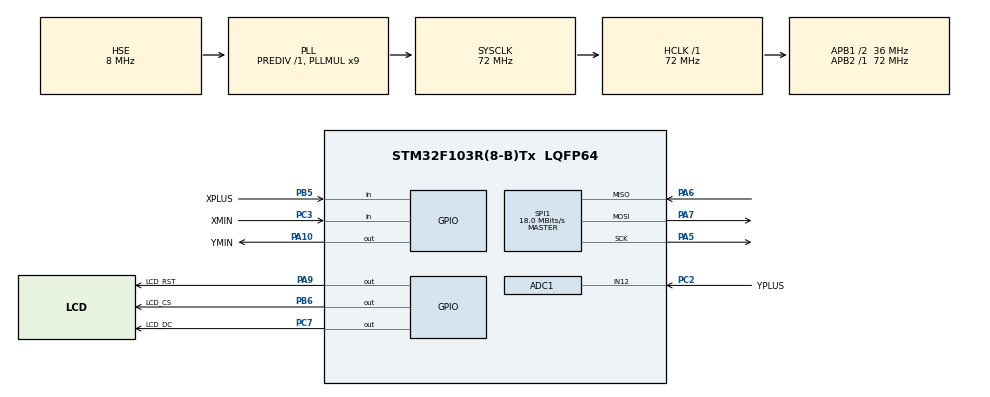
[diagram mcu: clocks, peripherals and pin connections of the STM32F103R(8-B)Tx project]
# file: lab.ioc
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ADC1.Channel-28\#ChannelRegularConversion=ADC_CHANNEL_12
ADC1.NbrOfConversionFlag=1
ADC1.Rank-28\#ChannelRegularConversion=1
ADC1.SamplingTime-28\#ChannelRegularConversion=ADC_SAMPLETIME_1CYCLE_5
ADC1.master=1
Mcu.Family=STM32F1
Mcu.Name=STM32F103R(8-B)Tx
Mcu.Package=LQFP64
NVIC.PriorityGroup=NVIC_PRIORITYGROUP_4
PA10.GPIO_Label=YMIN
PA10.GPIO_PuPd=GPIO_PULLDOWN
PA10.GPIO_Speed=GPIO_SPEED_FREQ_HIGH
PA10.Signal=GPIO_Output
PA13.Mode=Serial_Wire
PA13.Signal=SYS_JTMS-SWDIO
PA14.Mode=Serial_Wire
PA14.Signal=SYS_JTCK-SWCLK
PA5.Mode=Full_Duplex_Master
PA5.Signal=SPI1_SCK
PA6.Mode=Full_Duplex_Master
PA6.Signal=SPI1_MISO
PA7.Mode=Full_Duplex_Master
PA7.Signal=SPI1_MOSI
PA9.GPIO_Label=LCD_RST
PA9.Signal=GPIO_Output
PB5.GPIO_Label=XPLUS
PB5.GPIO_PuPd=GPIO_PULLDOWN
PB5.Signal=GPIO_Input
PB6.GPIO_Label=LCD_CS
PB6.Signal=GPIO_Output
PC2.GPIO_Label=YPLUS
PC2.Signal=ADCx_IN12
PC3.GPIO_Label=XMIN
PC3.Signal=GPIO_Input
PC7.GPIO_Label=LCD_DC
PC7.Signal=GPIO_Output
PD0-OSC_IN.Mode=HSE-External-Oscillator
PD0-OSC_IN.Signal=RCC_OSC_IN
PD1-OSC_OUT.Mode=HSE-External-Oscillator
PD1-OSC_OUT.Signal=RCC_OSC_OUT
ProjectManager.HeapSize=0x200
ProjectManager.StackSize=0x400
ProjectManager.TargetToolchain=STM32CubeIDE
RCC.ADCPresc=RCC_ADCPCLK2_DIV6
RCC.AHBFreq_Value=72000000
RCC.APB1CLKDivider=RCC_HCLK_DIV2
RCC.APB1Freq_Value=36000000
RCC.APB1TimFreq_Value=72000000
RCC.APB2Freq_Value=72000000
RCC.APB2TimFreq_Value=72000000
RCC.HCLKFreq_Value=72000000
RCC.PLLMUL=RCC_PLL_MUL9
RCC.PLLSourceVirtual=RCC_PLLSOURCE_HSE
RCC.SYSCLKFreq_VALUE=72000000
RCC.SYSCLKSource=RCC_SYSCLKSOURCE_PLLCLK
RCC.USBFreq_Value=72000000
SH.ADCx_IN12.0=ADC1_IN12,IN12
SPI1.BaudRatePrescaler=SPI_BAUDRATEPRESCALER_4
SPI1.CalculateBaudRate=18.0 MBits/s
SPI1.Direction=SPI_DIRECTION_2LINES
SPI1.Mode=SPI_MODE_MASTER
SPI1.VirtualType=VM_MASTER
board=custom

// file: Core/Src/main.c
/* USER CODE BEGIN Header */
/**
 ******************************************************************************
 * @file           : main.c
 * @brief          : Main program body
 ******************************************************************************
 * @attention
 *
 * <h2><center>&copy; Copyright (c) 2020 STMicroelectronics.
 * All rights reserved.</center></h2>
 *
 * This software component is licensed by ST under BSD 3-Clause license,
 * the "License"; You may not use this file except in compliance with the
 * License. You may obtain a copy of the License at:
 *                        opensource.org/licenses/BSD-3-Clause
 *
 ******************************************************************************
 */
/* USER CODE END Header */

#include "main.h"

/* USER CODE BEGIN Includes */
#include "Touch.h"
#include "LCD_Driver.h"
#include <string.h>
#include <stdarg.h>
#include <stdio.h>
#include<math.h>
#include "icons.h"
/* USER CODE END Includes */

ADC_HandleTypeDef hadc1;

SPI_HandleTypeDef hspi1;

void SystemClock_Config(void);
static void MX_GPIO_Init(void);
static void MX_ADC1_Init(void);
static void MX_SPI1_Init(void);

/* USER CODE BEGIN 0 */
int _write(int file, char *ptr, int len) {
	int i = 0;
	for (i = 0; i < len; i++)
		ITM_SendChar((*ptr++));
	return len;
}

struct Button {
	int start_x, start_y, end_x, end_y;
	uint8_t action;
	const uint16_t * icon;
};

void drawStruct(struct Button * p) {
	uint16_t color;
	switch(p->action) {
	case 1: color = HX8357_BLUE; p->icon = pencil_icon; break;
	case 2: color= HX8357_RED;  p->icon = line_icon; break;
	case 3: color= HX8357_CYAN;  p->icon = circle_icon; break;
	case 4: color= HX8357_GREEN;  p->icon = graph_icon; break;
	default: color = HX8357_YELLOW;  p->icon = trash_icon; break;
	}

	int center_x = abs(p->end_x - p->start_x) + p->start_x;
	int center_y = abs(p->end_y - p->start_y) + p->start_y;
	// 32 bit
	center_x -= 4;
	center_y -= 4;
	LCD_Fill_Rect(p->start_x, p->start_y, p->end_x, p->end_y, color);
	LCD_printIcon(center_x, center_y, p->icon);

}

uint8_t checkIfInBoundary(struct Button * p, int x_coor) {
	if(x_coor >= p->start_x && x_coor <= p->end_x) {
		return 1;
	}

	return 0;
}

struct Button clear_button = {20, 0, 60, 40, 5 };
struct Button polygon_button  = {80, 0, 120, 40, 4 };
struct Button circle_button  = {140, 0, 180, 40, 3 };
struct Button line_button  = {200, 0, 240, 40, 2 };
struct Button pencil_button = {260, 0, 300, 40, 1 };

void default_screen() {
	LCD_Fill(HX8357_WHITE);
	drawStruct(&pencil_button);
	drawStruct(&line_button);
	drawStruct(&circle_button);
	drawStruct(&polygon_button);
	drawStruct(&clear_button);
}

/* USER CODE END 0 */

int main(void)
{

	/* MCU Configuration--------------------------------------------------------*/

	/* Reset of all peripherals, Initializes the Flash interface and the Systick. */
	HAL_Init();

	/* Configure the system clock */
	SystemClock_Config();

	/* Initialize all configured peripherals */
	MX_GPIO_Init();
	MX_ADC1_Init();
	MX_SPI1_Init();
	/* USER CODE BEGIN 2 */
	Touch_Init(&hadc1);
	LCD_Init(&hspi1, LCD_CS_GPIO_Port, LCD_CS_Pin, LCD_DC_GPIO_Port, LCD_DC_Pin, LCD_RST_GPIO_Port, LCD_RST_Pin);
	LCD_setRotation(3);
	default_screen();
	int current_x, current_y, radius, x_diff, y_diff;
	int previous_x, previous_y = 0;
	uint8_t enabled_action = 0;
	uint8_t in_button;
	int text_coords[2] = {0, 460};
	int triangle_coords[3][2] = {{0, 0}, {0, 0}, {0, 0}};
	uint8_t completeTriangle = 0;
	int triangle_coord_count = 0;
	/* USER CODE END 2 */

	/* Infinite loop */
	while (1) {

		/* USER CODE BEGIN 3 */
		current_x = readTouchX();
		current_y = readTouchY();
		printf("TAPPED: (%d, %d)\n", current_x, current_y);
		if(current_x > 0 && current_y > 0) {
			// 1. Check if in boundary of button
			// 2. Also determine action
			if(current_y >= 0 && current_y <= 40) {
				in_button = 0;
				if(checkIfInBoundary(&pencil_button, current_x)) {
					in_button = 1;
					enabled_action = pencil_button.action;
					LCD_printText("PIXEL  ", text_coords[0], text_coords[1], HX8357_BLACK, HX8357_WHITE, 1);
					printf("User tapped line button\n");
				}
				if(checkIfInBoundary(&line_button, current_x)) {
					in_button = 1;
					enabled_action = line_button.action;
					LCD_printText("LINE   ", text_coords[0], text_coords[1], HX8357_BLACK, HX8357_WHITE, 1);
					printf("User tapped line button\n");
				}

				if(checkIfInBoundary(&circle_button, current_x)) {
					in_button = 1;
					enabled_action = circle_button.action;
					LCD_printText("CIRCLE  ", text_coords[0], text_coords[1], HX8357_BLACK, HX8357_WHITE, 1);
					printf("User tapped circle button\n");
				}

				if(checkIfInBoundary(&polygon_button, current_x)) {
					in_button = 1;
					enabled_action = polygon_button.action;
					LCD_printText("POLYGON", text_coords[0], text_coords[1], HX8357_BLACK, HX8357_WHITE, 1);
					printf("User tapped polygon button\n");
				}
				if(checkIfInBoundary(&clear_button, current_x)) {
					in_button = 1;
					enabled_action = clear_button.action;
					default_screen();
					printf("User tapped clear button\n");
				}

			} else {
				in_button = 0;
			}

			if(in_button) {
				previous_x = 0;
				previous_y = 0;
			} else {
				if(previous_x > 0 && previous_y > 0) {
					switch(enabled_action) {
					// 1 = line, 2 = circle, 3 = polygon
					case 1: LCD_DrawPixel(current_x, current_y, HX8357_BLACK); break;
					case 2:
						LCD_drawLine(previous_x, previous_y, current_x, current_y, HX8357_BLACK);
						break;
					case 3:
						// Get distance
						x_diff = abs(current_x - previous_x);
						y_diff = abs(current_y - previous_y);
						x_diff = pow(x_diff, 2);
						y_diff = pow(y_diff, 2);
						radius = sqrt((x_diff + y_diff));
						LCD_drawCircle(previous_x, previous_y, radius, HX8357_BLACK);
						break;
					case 4:
						completeTriangle = 1;
						for(int i = 0; i < 3; i++) {
							for(int j = 0; j < 2; j++) {
								if(triangle_coords[i][j] == 0) {
									completeTriangle = 0;
								}
							}
						}
						if(completeTriangle) {
							LCD_fillTriangle(triangle_coords[0][0], triangle_coords[0][1], triangle_coords[1][0], triangle_coords[1][1],triangle_coords[2][0], triangle_coords[2][1], HX8357_MAGENTA);
							triangle_coord_count = 0;
							triangle_coords[0][0] = 0;
							triangle_coords[0][1] = 0;
							triangle_coords[1][0] = 0;
							triangle_coords[1][1] = 0;
							triangle_coords[2][0] = 0;
							triangle_coords[2][1] = 0;

						} else {
							triangle_coords[triangle_coord_count][0] = current_x;
							triangle_coords[triangle_coord_count][1] = current_y;
							triangle_coord_count++;
						}
						break;
					case 5:
						break;
					default: LCD_DrawPixel(current_x, current_y, HX8357_BLACK); break;
					}

					// Action finished
					previous_x = 0;
					previous_y = 0;
				} else {
					previous_x = current_x;
					previous_y = current_y;
				}
			}
		}

		// Kind of like dender relay for push button
		HAL_Delay(50);

	}
	/* USER CODE END 3 */
}

void SystemClock_Config(void)
{
	RCC_OscInitTypeDef RCC_OscInitStruct = {0};
	RCC_ClkInitTypeDef RCC_ClkInitStruct = {0};
	RCC_PeriphCLKInitTypeDef PeriphClkInit = {0};

	/** Initializes the CPU, AHB and APB busses clocks
	 */
	RCC_OscInitStruct.OscillatorType = RCC_OSCILLATORTYPE_HSE;
	RCC_OscInitStruct.HSEState = RCC_HSE_ON;
	RCC_OscInitStruct.HSEPredivValue = RCC_HSE_PREDIV_DIV1;
	RCC_OscInitStruct.HSIState = RCC_HSI_ON;
	RCC_OscInitStruct.PLL.PLLState = RCC_PLL_ON;
	RCC_OscInitStruct.PLL.PLLSource = RCC_PLLSOURCE_HSE;
	RCC_OscInitStruct.PLL.PLLMUL = RCC_PLL_MUL9;
	if (HAL_RCC_OscConfig(&RCC_OscInitStruct) != HAL_OK)
	{
		Error_Handler();
	}
	/** Initializes the CPU, AHB and APB busses clocks
	 */
	RCC_ClkInitStruct.ClockType = RCC_CLOCKTYPE_HCLK|RCC_CLOCKTYPE_SYSCLK
			|RCC_CLOCKTYPE_PCLK1|RCC_CLOCKTYPE_PCLK2;
	RCC_ClkInitStruct.SYSCLKSource = RCC_SYSCLKSOURCE_PLLCLK;
	RCC_ClkInitStruct.AHBCLKDivider = RCC_SYSCLK_DIV1;
	RCC_ClkInitStruct.APB1CLKDivider = RCC_HCLK_DIV2;
	RCC_ClkInitStruct.APB2CLKDivider = RCC_HCLK_DIV1;

	if (HAL_RCC_ClockConfig(&RCC_ClkInitStruct, FLASH_LATENCY_2) != HAL_OK)
	{
		Error_Handler();
	}
	PeriphClkInit.PeriphClockSelection = RCC_PERIPHCLK_ADC;
	PeriphClkInit.AdcClockSelection = RCC_ADCPCLK2_DIV6;
	if (HAL_RCCEx_PeriphCLKConfig(&PeriphClkInit) != HAL_OK)
	{
		Error_Handler();
	}
}

static void MX_ADC1_Init(void)
{

	ADC_ChannelConfTypeDef sConfig = {0};

	/** Common config
	 */
	hadc1.Instance = ADC1;
	hadc1.Init.ScanConvMode = ADC_SCAN_DISABLE;
	hadc1.Init.ContinuousConvMode = DISABLE;
	hadc1.Init.DiscontinuousConvMode = DISABLE;
	hadc1.Init.ExternalTrigConv = ADC_SOFTWARE_START;
	hadc1.Init.DataAlign = ADC_DATAALIGN_RIGHT;
	hadc1.Init.NbrOfConversion = 1;
	if (HAL_ADC_Init(&hadc1) != HAL_OK)
	{
		Error_Handler();
	}
	/** Configure Regular Channel
	 */
	sConfig.Channel = ADC_CHANNEL_12;
	sConfig.Rank = ADC_REGULAR_RANK_1;
	sConfig.SamplingTime = ADC_SAMPLETIME_1CYCLE_5;
	if (HAL_ADC_ConfigChannel(&hadc1, &sConfig) != HAL_OK)
	{
		Error_Handler();
	}

}

static void MX_SPI1_Init(void)
{

	/* SPI1 parameter configuration*/
	hspi1.Instance = SPI1;
	hspi1.Init.Mode = SPI_MODE_MASTER;
	hspi1.Init.Direction = SPI_DIRECTION_2LINES;
	hspi1.Init.DataSize = SPI_DATASIZE_8BIT;
	hspi1.Init.CLKPolarity = SPI_POLARITY_LOW;
	hspi1.Init.CLKPhase = SPI_PHASE_1EDGE;
	hspi1.Init.NSS = SPI_NSS_SOFT;
	hspi1.Init.BaudRatePrescaler = SPI_BAUDRATEPRESCALER_4;
	hspi1.Init.FirstBit = SPI_FIRSTBIT_MSB;
	hspi1.Init.TIMode = SPI_TIMODE_DISABLE;
	hspi1.Init.CRCCalculation = SPI_CRCCALCULATION_DISABLE;
	hspi1.Init.CRCPolynomial = 10;
	if (HAL_SPI_Init(&hspi1) != HAL_OK)
	{
		Error_Handler();
	}

}

static void MX_GPIO_Init(void)
{
	GPIO_InitTypeDef GPIO_InitStruct = {0};

	/* GPIO Ports Clock Enable */
	__HAL_RCC_GPIOD_CLK_ENABLE();
	__HAL_RCC_GPIOC_CLK_ENABLE();
	__HAL_RCC_GPIOA_CLK_ENABLE();
	__HAL_RCC_GPIOB_CLK_ENABLE();

	/*Configure GPIO pin Output Level */
	HAL_GPIO_WritePin(LCD_DC_GPIO_Port, LCD_DC_Pin, GPIO_PIN_RESET);

	/*Configure GPIO pin Output Level */
	HAL_GPIO_WritePin(GPIOA, LCD_RST_Pin|YMIN_Pin, GPIO_PIN_RESET);

	/*Configure GPIO pin Output Level */
	HAL_GPIO_WritePin(LCD_CS_GPIO_Port, LCD_CS_Pin, GPIO_PIN_RESET);

	/*Configure GPIO pin : XMIN_Pin */
	GPIO_InitStruct.Pin = XMIN_Pin;
	GPIO_InitStruct.Mode = GPIO_MODE_INPUT;
	GPIO_InitStruct.Pull = GPIO_NOPULL;
	HAL_GPIO_Init(XMIN_GPIO_Port, &GPIO_InitStruct);

	/*Configure GPIO pin : LCD_DC_Pin */
	GPIO_InitStruct.Pin = LCD_DC_Pin;
	GPIO_InitStruct.Mode = GPIO_MODE_OUTPUT_PP;
	GPIO_InitStruct.Pull = GPIO_NOPULL;
	GPIO_InitStruct.Speed = GPIO_SPEED_FREQ_LOW;
	HAL_GPIO_Init(LCD_DC_GPIO_Port, &GPIO_InitStruct);

	/*Configure GPIO pin : LCD_RST_Pin */
	GPIO_InitStruct.Pin = LCD_RST_Pin;
	GPIO_InitStruct.Mode = GPIO_MODE_OUTPUT_PP;
	GPIO_InitStruct.Pull = GPIO_NOPULL;
	GPIO_InitStruct.Speed = GPIO_SPEED_FREQ_LOW;
	HAL_GPIO_Init(LCD_RST_GPIO_Port, &GPIO_InitStruct);

	/*Configure GPIO pin : YMIN_Pin */
	GPIO_InitStruct.Pin = YMIN_Pin;
	GPIO_InitStruct.Mode = GPIO_MODE_OUTPUT_PP;
	GPIO_InitStruct.Pull = GPIO_PULLDOWN;
	GPIO_InitStruct.Speed = GPIO_SPEED_FREQ_HIGH;
	HAL_GPIO_Init(YMIN_GPIO_Port, &GPIO_InitStruct);

	/*Configure GPIO pin : XPLUS_Pin */
	GPIO_InitStruct.Pin = XPLUS_Pin;
	GPIO_InitStruct.Mode = GPIO_MODE_INPUT;
	GPIO_InitStruct.Pull = GPIO_PULLDOWN;
	HAL_GPIO_Init(XPLUS_GPIO_Port, &GPIO_InitStruct);

	/*Configure GPIO pin : LCD_CS_Pin */
	GPIO_InitStruct.Pin = LCD_CS_Pin;
	GPIO_InitStruct.Mode = GPIO_MODE_OUTPUT_PP;
	GPIO_InitStruct.Pull = GPIO_NOPULL;
	GPIO_InitStruct.Speed = GPIO_SPEED_FREQ_LOW;
	HAL_GPIO_Init(LCD_CS_GPIO_Port, &GPIO_InitStruct);

}

void Error_Handler(void)
{
}

/************************ (C) COPYRIGHT STMicroelectronics *****END OF FILE****/
